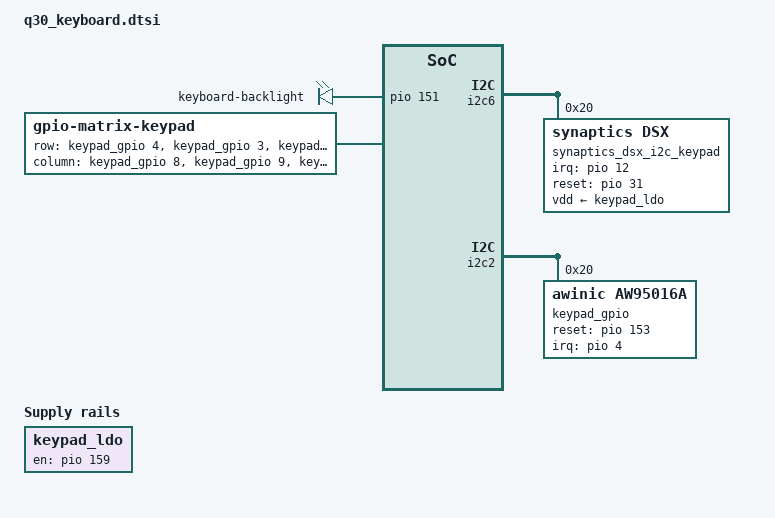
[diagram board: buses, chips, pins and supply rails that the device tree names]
#include <dt-bindings/input/input.h>

&odm {
	leds {
		keyboard {
			label = "keyboard-backlight";
			gpios = <&pio 151 0>;
			default-state = "off";
			linux,default-trigger = "kbd-backlight";
		};
	};

	keypad_ldo: fixed-regulator-0 {
		compatible = "regulator-fixed";
		regulator-name = "keypad_ldo";
		gpio = <&pio 159 0>;
		enable-active-high;
	};
};

&i2c6 {
	synaptics_dsx_i2c_keypad@20 {
		compatible = "synaptics,dsx";
		reg = <0x20>;
		vdd-supply = <&keypad_ldo>;
		synaptics,pwr-reg-name = "vdd";
		synaptics,input-device-name = "touch_keypad";
		synaptics,irq-gpio = <&pio 12 0>;
		synaptics,irq-flags = <0x2008>;
		synaptics,reset-gpio = <&pio 31 0>;
		synaptics,reset-on-state = <0>;
		synaptics,reset-delay-ms = <63>;
		synaptics,reset-active-ms = <1>;
		synaptics,touchpad;
		synaptics,firmware = "passport_keyboard.bin";
		synaptics,flash-only-bricked;
	};
};

&i2c2 {
	status = "okay";
	keypad_gpio: aw95016_ex@20 {
		compatible = "awinic,aw95016a";
		reg = <0x20>;
		reset-gpio = <&pio 153 0>;
		interrupt-parent = <&pio>;
		interrupts = <4 IRQ_TYPE_EDGE_FALLING>;
		gpio-controller;
		interrupt-controller;
		#gpio-cells = <2>;
		#interrupt-cells = <2>;
		status = "okay";
	};
};

&odm {
	keypad {
		compatible = "gpio-matrix-keypad";
		row-gpios = <&keypad_gpio 4 0>,
			<&keypad_gpio 3 0>,
			<&keypad_gpio 2 0>,
			<&keypad_gpio 5 0>,
			<&keypad_gpio 6 0>,
			<&keypad_gpio 7 0>;
		column-gpios = <&keypad_gpio 8 0>,
			<&keypad_gpio 9 0>,
			<&keypad_gpio 10 0>,
			<&keypad_gpio 11 0>,
			<&keypad_gpio 12 0>;
		keypad,num-rows = <6>;
		keypad,num-columns = <5>;
		keypad,debounce-ms = <5>;
		linux,keypad-no-autorepeat;
		linux,keymap = <
				MATRIX_KEY(2, 0, KEY_Q)
				MATRIX_KEY(2, 1, KEY_W)
				MATRIX_KEY(2, 2, KEY_E)
				MATRIX_KEY(2, 3, KEY_R)
				MATRIX_KEY(2, 4, KEY_T)
				MATRIX_KEY(3, 0, KEY_Y)
				MATRIX_KEY(3, 1, KEY_U)
				MATRIX_KEY(3, 2, KEY_I)
				MATRIX_KEY(3, 3, KEY_O)
				MATRIX_KEY(3, 4, KEY_P)
				MATRIX_KEY(1, 0, KEY_A)
				MATRIX_KEY(1, 1, KEY_S)
				MATRIX_KEY(1, 2, KEY_D)
				MATRIX_KEY(1, 3, KEY_F)
				MATRIX_KEY(1, 4, KEY_G)
				MATRIX_KEY(4, 0, KEY_H)
				MATRIX_KEY(4, 1, KEY_J)
				MATRIX_KEY(4, 2, KEY_K)
				MATRIX_KEY(4, 3, KEY_L)
				MATRIX_KEY(4, 4, KEY_BACKSPACE)
				MATRIX_KEY(0, 0, KEY_Z)
				MATRIX_KEY(0, 1, KEY_X)
				MATRIX_KEY(0, 2, KEY_C)
				MATRIX_KEY(0, 3, KEY_V)
				MATRIX_KEY(0, 4, KEY_SPACE)
				MATRIX_KEY(5, 1, KEY_B)
				MATRIX_KEY(5, 2, KEY_N)
				MATRIX_KEY(5, 3, KEY_M)
				MATRIX_KEY(5, 4, KEY_ENTER)
			>;
	};
};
